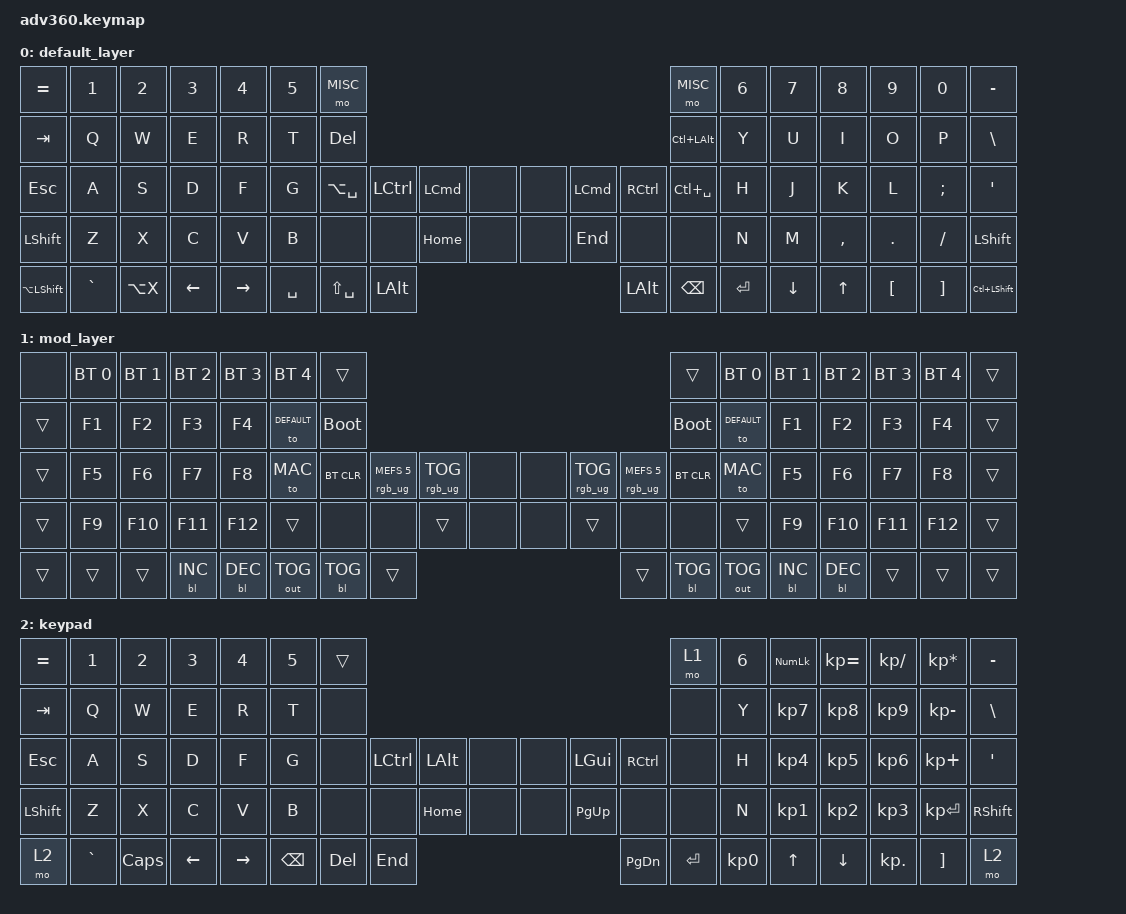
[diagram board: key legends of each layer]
#include <behaviors.dtsi>
#include <dt-bindings/zmk/keys.h>
#include <dt-bindings/zmk/bt.h>
#include <dt-bindings/zmk/rgb.h>
#include <dt-bindings/zmk/backlight.h>
#include <dt-bindings/zmk/outputs.h>

#define DEFAULT 0
#define MISC 1
#define MAC 2
#define DVORAK 3

/ {
    behaviors {
      #include "macros.dtsi"

      hm: homerow_mods {
          compatible = "zmk,behavior-hold-tap";
          label = "HOMEROW_MODS";
          #binding-cells = <2>;
          tapping-term-ms = <150>;
          quick_tap_ms = <10>;
          flavor = "tap-preferred";
          bindings = <&kp>, <&kp>;
      };
    };

  keymap {
    compatible = "zmk,keymap";

    default_layer {
      bindings = <
        &kp EQUAL     &kp N1    &kp N2   &kp N3   &kp N4     &kp N5 &mo MISC                                                                           &mo MISC      &kp N6 &kp N7   &kp N8    &kp N9   &kp N0   &kp MINUS
        &kp TAB       &kp Q     &kp W    &kp E    &kp R      &kp T  &kp DEL                                                                            &kp LC(LALT)  &kp Y  &kp U    &kp I     &kp O    &kp P    &kp BSLH
        &kp ESC       &kp A     &kp S    &kp D    &kp F      &kp G  &kp LA(SPACE)                  &kp LCTRL &kp LCMD &none &none &kp LCMD  &kp RCTRL     &kp LC(SPACE) &kp H  &kp J    &kp K     &kp L    &kp SEMI &kp SQT
        &kp LSHFT     &kp Z     &kp X    &kp C    &kp V      &kp B              &none     &none     &kp HOME &none &none &kp END   &none     &none                   &kp N  &kp M    &kp COMMA &kp DOT  &kp FSLH &kp LSHFT
        &kp LA(LSHFT) &kp GRAVE &kp LA(X)     &kp LEFT &kp RIGHT                     &kp SPACE &kp LS(SPACE)      &kp LALT             &kp LALT  &kp BSPC  &kp ENTER                      &kp DOWN &kp UP    &kp LBKT &kp RBKT &kp LC(LSHFT)
      >;
    };

    mod_layer {
      bindings = <
        &none  &bt BT_SEL 0 &bt BT_SEL 1 &bt BT_SEL 2 &bt BT_SEL 3 &bt BT_SEL 4 &trans                                                                                                        &trans      &bt BT_SEL 0 &bt BT_SEL 1 &bt BT_SEL 2 &bt BT_SEL 3 &bt BT_SEL 4 &trans
        &trans &kp F1       &kp F2       &kp F3       &kp F4       &to DEFAULT  &bootloader                                                                                                   &bootloader &to DEFAULT  &kp F1       &kp F2       &kp F3       &kp F4       &trans
        &trans &kp F5       &kp F6       &kp F7       &kp F8       &to MAC      &bt BT_CLR        &rgb_ug RGB_MEFS_CMD 5  &rgb_ug RGB_TOG &none &none  &rgb_ug RGB_TOG  &rgb_ug RGB_MEFS_CMD 5    &bt BT_CLR     &to MAC      &kp F5       &kp F6       &kp F7       &kp F8       &trans
        &trans &kp F9       &kp F10      &kp F11      &kp F12      &trans                &none        &none      &trans &none &none  &trans  &none      &none                                 &trans       &kp F9       &kp F10      &kp F11      &kp F12      &trans
        &trans &trans       &trans       &bl BL_INC   &bl BL_DEC                         &out OUT_TOG &bl BL_TOG &trans       &trans &bl BL_TOG &out OUT_TOG                                               &bl BL_INC   &bl BL_DEC   &trans       &trans       &trans
      >;
    };

    keypad {
      bindings = <
        &kp EQUAL &kp N1    &kp N2   &kp N3   &kp N4     &kp N5 &trans                                                                       &mo 1 &kp N6 &kp KP_NUM &kp KP_EQUAL &kp KP_DIVIDE &kp KP_MULTIPLY &kp MINUS
        &kp TAB   &kp Q     &kp W    &kp E    &kp R      &kp T  &none                                                                        &none &kp Y  &kp KP_N7  &kp KP_N8    &kp KP_N9     &kp KP_MINUS    &kp BSLH
        &kp ESC   &kp A     &kp S    &kp D    &kp F      &kp G  &none           &kp LCTRL &kp LALT &none &none &kp LGUI  &kp RCTRL           &none &kp H  &kp KP_N4  &kp KP_N5    &kp KP_N6     &kp KP_PLUS     &kp SQT
        &kp LSHFT &kp Z     &kp X    &kp C    &kp V      &kp B         &none    &none     &kp HOME &none &none &kp PG_UP &none     &none           &kp N  &kp KP_N1  &kp KP_N2    &kp KP_N3     &kp KP_ENTER    &kp RSHFT
        &mo 2     &kp GRAVE &kp CAPS &kp LEFT &kp RIGHT                &kp BSPC &kp DEL   &kp END              &kp PG_DN &kp ENTER &kp KP_N0              &kp UP     &kp DOWN     &kp KP_DOT    &kp RBKT        &mo 2
      >;
    };
  };
};
